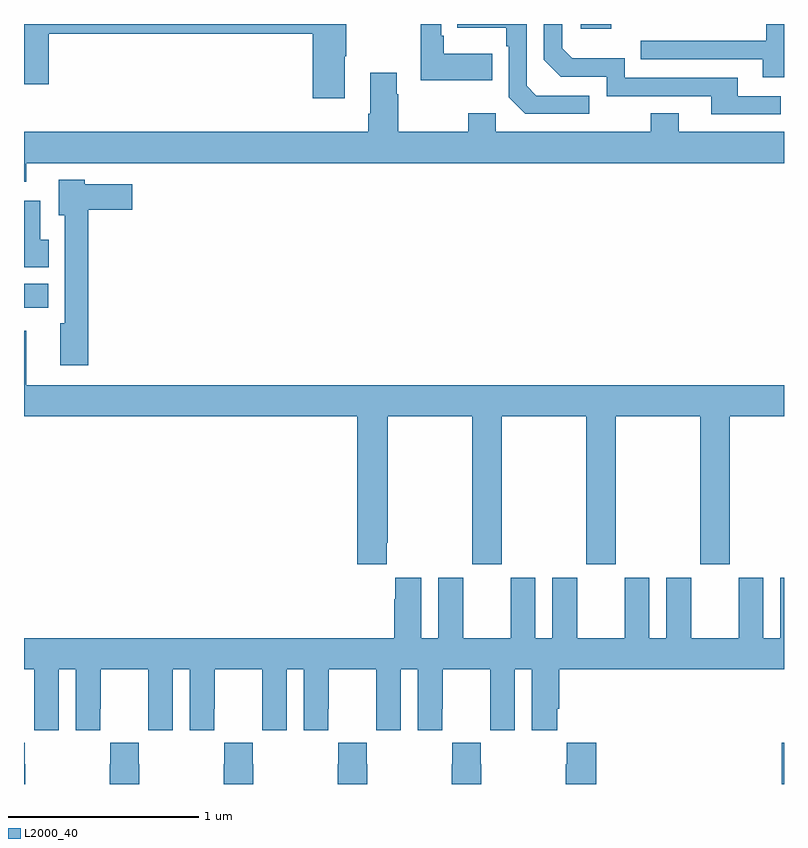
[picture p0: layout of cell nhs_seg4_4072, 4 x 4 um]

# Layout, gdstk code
import gdstk
lib = gdstk.Library(unit=1e-6, precision=1e-09)
def R(c, l, rs):  # rectangles x0, y0, x1, y1
    for r in rs: c.add(gdstk.rectangle(r[:2], r[2:], *l))
def P(c, l, *ps):  # polygons
    for p in ps: c.add(gdstk.Polygon(p, *l))
L2000_40 = (2000, 40)

nhs_seg4_4072 = lib.new_cell('nhs_seg4_4072')
R(nhs_seg4_4072, L2000_40, [(330.989,778.9,331,779.116), (327,781.406,327.127,781.534), (329.931,782.876,330.092,782.9)])
P(nhs_seg4_4072, L2000_40, [(331,782.9),(330.906,782.9),(330.906,782.811),(330.247,782.811),(330.247,782.715),(330.887,782.715),(330.887,782.621),(331,782.621)],
  [(329.974,782.523),(329.697,782.523),(329.646,782.574),(329.646,782.9),(329.281,782.9),(329.281,782.879),(329.538,782.879),(329.538,782.783),(329.55,782.783),(329.55,782.514),(329.637,782.427),(329.974,782.427)],
  [(329.465,782.743),(329.209,782.743),(329.209,782.839),(329.196,782.839),(329.196,782.9),(329.088,782.9),(329.088,782.603),(329.465,782.603)],
  [(330.982,782.52),(330.757,782.52),(330.757,782.616),(330.162,782.616),(330.162,782.719),(329.885,782.719),(329.832,782.772),(329.832,782.9),(329.736,782.9),(329.736,782.712),(329.826,782.622),(330.066,782.622),(330.066,782.52),(330.617,782.52),(330.617,782.424),(330.982,782.424)],
  [(328.687,782.731),(328.695,782.731),(328.695,782.9),(327,782.9),(327,782.583),(327.131,782.583),(327.131,782.848),(328.52,782.848),(328.52,782.508),(328.687,782.508)],
  [(331,782.332),(330.445,782.332),(330.445,782.431),(330.298,782.431),(330.298,782.332),(329.484,782.332),(329.484,782.431),(329.338,782.431),(329.338,782.332),(328.971,782.332),(328.971,782.531),(328.963,782.531),(328.963,782.644),(328.823,782.644),(328.823,782.428),(328.811,782.428),(328.811,782.332),(327,782.332),(327,782.069),(327.013,782.069),(327.013,782.168),(331,782.168)],
  [(327.338,781.922),(327.571,781.922),(327.571,782.056),(327.321,782.056),(327.321,782.08),(327.182,782.08),(327.182,781.893),(327.215,781.893),(327.215,781.326),(327.191,781.326),(327.191,781.104),(327.338,781.104)],
  [(327.13,781.764),(327.085,781.764),(327.085,781.969),(327,781.969),(327,781.62),(327.13,781.62)],
  [(328.909,780.169),(328.914,780.169),(328.914,780.836),(329.359,780.836),(329.359,780.057),(329.514,780.057),(329.514,780.836),(329.959,780.836),(329.959,780.057),(330.114,780.057),(330.114,780.836),(330.559,780.836),(330.559,780.057),(330.714,780.057),(330.714,780.836),(331,780.836),(331,781),(327.011,781),(327.011,781.285),(327,781.285),(327,780.836),(328.754,780.836),(328.754,780.057),(328.909,780.057)],
  [(327,779.504),(327.053,779.504),(327.053,779.296),(327.054,779.296),(327.054,779.184),(327.184,779.184),(327.184,779.504),(327.272,779.504),(327.272,779.184),(327.402,779.184),(327.402,779.296),(327.403,779.296),(327.403,779.504),(327.653,779.504),(327.653,779.296),(327.654,779.296),(327.654,779.184),(327.784,779.184),(327.784,779.504),(327.872,779.504),(327.872,779.184),(328.002,779.184),(328.002,779.296),(328.003,779.296),(328.003,779.504),(328.253,779.504),(328.253,779.296),(328.254,779.296),(328.254,779.184),(328.384,779.184),(328.384,779.504),(328.472,779.504),(328.472,779.184),(328.602,779.184),(328.602,779.296),(328.603,779.296),(328.603,779.504),(328.853,779.504),(328.853,779.296),(328.854,779.296),(328.854,779.184),(328.984,779.184),(328.984,779.504),(329.072,779.504),(329.072,779.184),(329.202,779.184),(329.202,779.296),(329.203,779.296),(329.203,779.504),(329.453,779.504),(329.453,779.296),(329.454,779.296),(329.454,779.184),(329.584,779.184),(329.584,779.504),(329.672,779.504),(329.672,779.184),(329.806,779.184),(329.806,779.296),(329.816,779.296),(329.816,779.504),(331,779.504),(331,779.986),(330.98,779.986),(330.98,779.668),(330.892,779.668),(330.892,779.986),(330.761,779.986),(330.761,779.668),(330.511,779.668),(330.511,779.986),(330.38,779.986),(330.38,779.668),(330.292,779.668),(330.292,779.986),(330.161,779.986),(330.161,779.668),(329.911,779.668),(329.911,779.986),(329.78,779.986),(329.78,779.668),(329.692,779.668),(329.692,779.986),(329.561,779.986),(329.561,779.668),(329.311,779.668),(329.311,779.986),(329.18,779.986),(329.18,779.668),(329.092,779.668),(329.092,779.986),(328.955,779.986),(328.955,779.873),(328.949,779.873),(328.949,779.668),(327,779.668)],
  [(329.406,779.003),(329.403,779.003),(329.403,779.116),(329.253,779.116),(329.253,779.003),(329.251,779.003),(329.251,778.9),(329.406,778.9)],
  [(327.606,779.003),(327.603,779.003),(327.603,779.116),(327.453,779.116),(327.453,779.003),(327.451,779.003),(327.451,778.9),(327.606,778.9)],
  [(328.206,779.003),(328.203,779.003),(328.203,779.116),(328.053,779.116),(328.053,779.003),(328.051,779.003),(328.051,778.9),(328.206,778.9)],
  [(328.806,779.003),(328.803,779.003),(328.803,779.116),(328.653,779.116),(328.653,779.003),(328.651,779.003),(328.651,778.9),(328.806,778.9)],
  [(327.006,779.003),(327.003,779.003),(327.003,779.116),(327,779.116),(327,778.9),(327.006,778.9)],
  [(330.011,779.116),(329.857,779.116),(329.857,779.003),(329.851,779.003),(329.851,778.9),(330.011,778.9)])

lib.write_gds('nhs_seg4_4072.gds')
